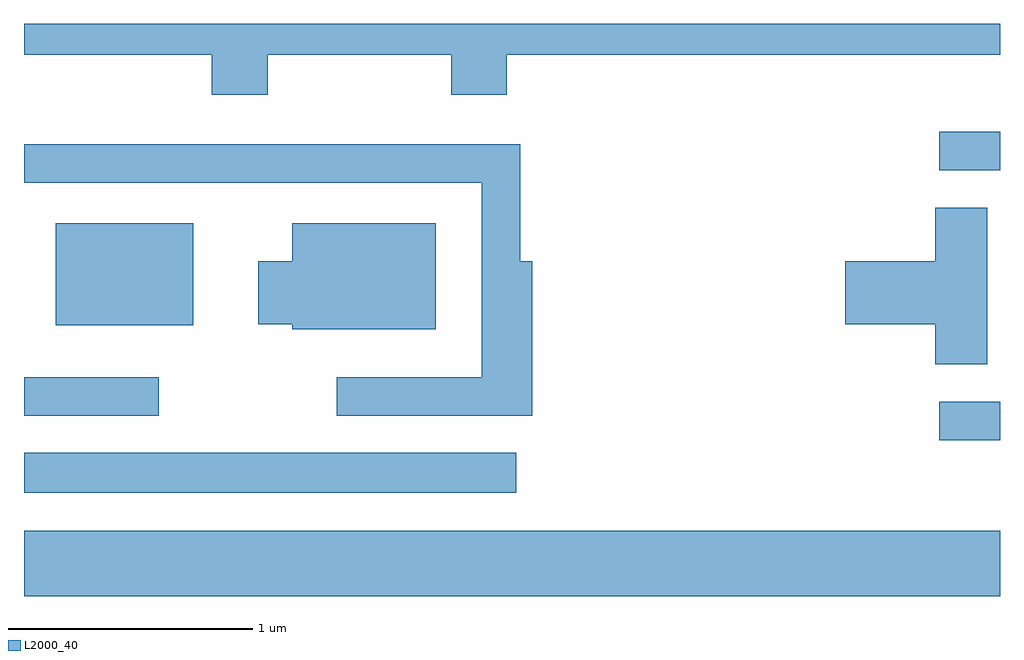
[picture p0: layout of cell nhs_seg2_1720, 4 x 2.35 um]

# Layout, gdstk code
import gdstk
lib = gdstk.Library(unit=1e-6, precision=1e-09)
def R(c, l, rs):  # rectangles x0, y0, x1, y1
    for r in rs: c.add(gdstk.rectangle(r[:2], r[2:], *l))
def P(c, l, *ps):  # polygons
    for p in ps: c.add(gdstk.Polygon(p, *l))
L2000_40 = (2000, 40)

nhs_seg2_1720 = lib.new_cell('nhs_seg2_1720')
R(nhs_seg2_1720, L2000_40, [(235.611,1019.456,239.611,1019.724), (235.611,1019.881,237.628,1020.044), (239.363,1020.096,239.611,1020.254), (235.611,1020.196,236.163,1020.354), (235.741,1020.566,236.304,1020.984), (239.363,1021.201,239.611,1021.359)])
P(nhs_seg2_1720, L2000_40, [(236.609,1021.676),(237.361,1021.676),(237.361,1021.511),(237.589,1021.511),(237.589,1021.676),(239.611,1021.676),(239.611,1021.802),(235.611,1021.802),(235.611,1021.676),(236.381,1021.676),(236.381,1021.511),(236.609,1021.511)],
  [(237.694,1020.829),(237.644,1020.829),(237.644,1021.309),(235.611,1021.309),(235.611,1021.151),(237.486,1021.151),(237.486,1020.354),(236.893,1020.354),(236.893,1020.196),(237.694,1020.196)],
  [(239.559,1021.049),(239.346,1021.049),(239.346,1020.829),(238.976,1020.829),(238.976,1020.571),(239.346,1020.571),(239.346,1020.406),(239.559,1020.406)],
  [(237.299,1020.984),(236.711,1020.984),(236.711,1020.829),(236.571,1020.829),(236.571,1020.571),(236.711,1020.571),(236.711,1020.551),(237.299,1020.551)])

lib.write_gds('nhs_seg2_1720.gds')
